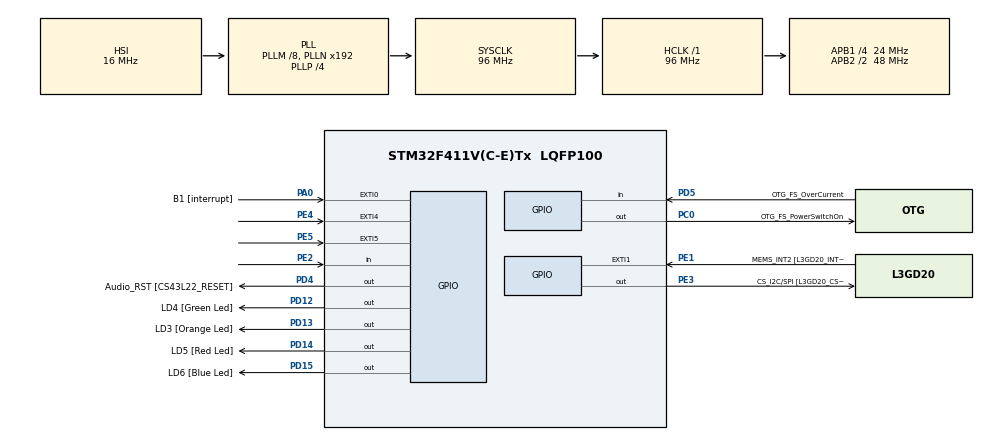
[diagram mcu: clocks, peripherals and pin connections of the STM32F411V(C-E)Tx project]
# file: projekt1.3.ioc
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Mcu.Family=STM32F4
Mcu.Name=STM32F411V(C-E)Tx
Mcu.Package=LQFP100
NVIC.EXTI0_IRQn=true\:0\:0\:false\:false\:true\:true\:true\:true
NVIC.PriorityGroup=NVIC_PRIORITYGROUP_0
PA0-WKUP.GPIO_Label=B1 [interrupt]
PA0-WKUP.GPIO_ModeDefaultEXTI=GPIO_MODE_IT_RISING
PA0-WKUP.Signal=GPXTI0
PA10.GPIO_Label=OTG_FS_ID
PA10.Signal=USB_OTG_FS_ID
PA11.GPIO_Label=OTG_FS_DM
PA11.Signal=USB_OTG_FS_DM
PA12.GPIO_Label=OTG_FS_DP
PA12.Signal=USB_OTG_FS_DP
PA13.GPIO_Label=SWDIO
PA13.Signal=SYS_JTMS-SWDIO
PA14.GPIO_Label=SWCLK
PA14.Signal=SYS_JTCK-SWCLK
PA4.GPIO_Label=I2S3_WS [CS43L22_LRCK]
PA4.GPIO_Mode=GPIO_MODE_AF_PP
PA4.GPIO_PuPd=GPIO_NOPULL
PA4.GPIO_Speed=GPIO_SPEED_FREQ_LOW
PA4.Signal=I2S3_WS
PA5.GPIO_Label=SPI1_SCK [L3GD20_SC/SPC]
PA5.Signal=SPI1_SCK
PA6.GPIO_Label=SPI1_MISO [L3GD20_AS0/SDO]
PA6.Signal=SPI1_MISO
PA7.GPIO_Label=SPI1_MOSI [L3GD20_SDA/SDI/SDO]
PA7.Signal=SPI1_MOSI
PA9.GPIO_Label=VBUS_FS
PA9.Signal=USB_OTG_FS_VBUS
PB10.GPIO_Label=CLK_IN [MP45DT02_CLK]
PB10.Signal=I2S2_CK
PB12.Signal=I2S2_WS
PB3.GPIO_Label=SWO
PB3.Signal=SYS_JTDO-SWO
PB6.GPIO_Label=Audio_SCL [CS43L22_SCL]
PB6.GPIO_Mode=GPIO_MODE_AF_OD
PB6.GPIO_PuPd=GPIO_NOPULL
PB6.GPIO_Speed=GPIO_SPEED_FREQ_LOW
PB6.Signal=I2C1_SCL
PB9.GPIO_Label=Audio_SDA [CS43L22_SDA]
PB9.GPIO_Mode=GPIO_MODE_AF_OD
PB9.GPIO_PuPd=GPIO_NOPULL
PB9.GPIO_Speed=GPIO_SPEED_FREQ_LOW
PB9.Signal=I2C1_SDA
PC0.GPIO_Label=OTG_FS_PowerSwitchOn
PC0.PinState=GPIO_PIN_SET
PC0.Signal=GPIO_Output
PC10.GPIO_Label=I2S3_SCK [CS43L22_SCLK]
PC10.GPIO_Mode=GPIO_MODE_AF_PP
PC10.GPIO_PuPd=GPIO_NOPULL
PC10.GPIO_Speed=GPIO_SPEED_FREQ_LOW
PC10.Signal=I2S3_CK
PC12.GPIO_Label=I2S3_SD [CS43L22_SDIN]
PC12.GPIO_Mode=GPIO_MODE_AF_PP
PC12.GPIO_PuPd=GPIO_NOPULL
PC12.GPIO_Speed=GPIO_SPEED_FREQ_LOW
PC12.Signal=I2S3_SD
PC14-OSC32_IN.GPIO_Label=PC14-OSC32_IN
PC14-OSC32_IN.Signal=RCC_OSC32_IN
PC15-OSC32_OUT.GPIO_Label=PC15-OSC32_OUT
PC15-OSC32_OUT.Signal=RCC_OSC32_OUT
PC3.GPIO_Label=PDM_OUT [MP45DT02_DOUT]
PC3.Signal=I2S2_SD
PC7.GPIO_Label=I2S3_MCK [CS43L22_MCLK]
PC7.GPIO_Mode=GPIO_MODE_AF_PP
PC7.GPIO_PuPd=GPIO_NOPULL
PC7.GPIO_Speed=GPIO_SPEED_FREQ_LOW
PC7.Signal=I2S3_MCK
PD12.GPIO_Label=LD4 [Green Led]
PD12.GPIO_PuPd=GPIO_NOPULL
PD12.GPIO_Speed=GPIO_SPEED_FREQ_LOW
PD12.Signal=GPIO_Output
PD13.GPIO_Label=LD3 [Orange Led]
PD13.GPIO_PuPd=GPIO_NOPULL
PD13.GPIO_Speed=GPIO_SPEED_FREQ_LOW
PD13.Signal=GPIO_Output
PD14.GPIO_Label=LD5 [Red Led]
PD14.GPIO_PuPd=GPIO_NOPULL
PD14.GPIO_Speed=GPIO_SPEED_FREQ_LOW
PD14.Signal=GPIO_Output
PD15.GPIO_Label=LD6 [Blue Led]
PD15.GPIO_PuPd=GPIO_NOPULL
PD15.GPIO_Speed=GPIO_SPEED_FREQ_LOW
PD15.Signal=GPIO_Output
PD4.GPIO_Label=Audio_RST [CS43L22_RESET]
PD4.Signal=GPIO_Output
PD5.GPIO_Label=OTG_FS_OverCurrent
PD5.Signal=GPIO_Input
PE1.GPIO_Label=MEMS_INT2 [L3GD20_INT2]
PE1.GPIO_ModeDefaultEXTI=GPIO_MODE_EVT_RISING
PE1.Signal=GPXTI1
PE2.Signal=GPIO_Input
PE3.GPIO_Label=CS_I2C/SPI [L3GD20_CS_I2C/SPI]
PE3.Signal=GPIO_Output
PE4.GPIO_ModeDefaultEXTI=GPIO_MODE_EVT_RISING
PE4.Signal=GPXTI4
PE5.GPIO_ModeDefaultEXTI=GPIO_MODE_EVT_RISING
PE5.Signal=GPXTI5
PH0\ -\ OSC_IN.GPIO_Label=PH0-OSC_IN
PH0\ -\ OSC_IN.Signal=RCC_OSC_IN
PH1\ -\ OSC_OUT.GPIO_Label=PH1-OSC_OUT
PH1\ -\ OSC_OUT.Signal=RCC_OSC_OUT
ProjectManager.HeapSize=0x200
ProjectManager.StackSize=0x400
ProjectManager.TargetToolchain=STM32CubeIDE
RCC.48MHZClocksFreq_Value=48000000
RCC.AHBFreq_Value=96000000
RCC.APB1CLKDivider=RCC_HCLK_DIV4
RCC.APB1Freq_Value=24000000
RCC.APB1TimFreq_Value=48000000
RCC.APB2CLKDivider=RCC_HCLK_DIV2
RCC.APB2Freq_Value=48000000
RCC.APB2TimFreq_Value=96000000
RCC.CortexFreq_Value=96000000
RCC.HCLKFreq_Value=96000000
RCC.HSE_VALUE=8000000
RCC.HSI_VALUE=16000000
RCC.LSE_VALUE=32768
RCC.PLLI2SM=5
RCC.PLLI2SN=200
RCC.PLLM=8
RCC.PLLP=RCC_PLLP_DIV4
RCC.PLLQ=8
RCC.SYSCLKFreq_VALUE=96000000
RCC.SYSCLKSource=RCC_SYSCLKSOURCE_PLLCLK
RCC.VCOOutputFreq_Value=384000000
board=STM32F411E-DISCO

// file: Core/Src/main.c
/* USER CODE BEGIN Header */
/**
  ******************************************************************************
  * @file           : main.c
  * @brief          : Main program body
  ******************************************************************************
  * @attention
  *
  * Copyright (c) 2024 STMicroelectronics.
  * All rights reserved.
  *
  * This software is licensed under terms that can be found in the LICENSE file
  * in the root directory of this software component.
  * If no LICENSE file comes with this software, it is provided AS-IS.
  *
  ******************************************************************************
  */
/* USER CODE END Header */
#include "main.h"
#include "gpio.h"

/* USER CODE BEGIN PV */
  volatile uint32_t n = 0; //licznik do poruszania sie po pinArray
  volatile uint32_t lastDebounceTime = 0;  // Czas ostatniego naciśnięcia przycisku
  volatile uint16_t pinArray[] = {
      LD4_Pin,
      LD3_Pin,
      LD5_Pin,
	  LD6_Pin
  };
/* USER CODE END PV */

void SystemClock_Config(void);

int main(void)
{

  /* MCU Configuration--------------------------------------------------------*/

  /* Reset of all peripherals, Initializes the Flash interface and the Systick. */
  HAL_Init();

  /* Configure the system clock */
  SystemClock_Config();

  /* Initialize all configured peripherals */
  MX_GPIO_Init();
  /* USER CODE BEGIN 2 */

  HAL_GPIO_WritePin(GPIOD, pinArray[n], GPIO_PIN_SET);
  /* USER CODE END 2 */

  /* Infinite loop */
  /* USER CODE BEGIN WHILE */
  while (1)
  {
	  HAL_GPIO_TogglePin(GPIOD, pinArray[n]);
	  HAL_Delay(1000);

    /* USER CODE END WHILE */

  }
}

void SystemClock_Config(void)
{
  RCC_OscInitTypeDef RCC_OscInitStruct = {0};
  RCC_ClkInitTypeDef RCC_ClkInitStruct = {0};

  /** Configure the main internal regulator output voltage
  */
  __HAL_RCC_PWR_CLK_ENABLE();
  __HAL_PWR_VOLTAGESCALING_CONFIG(PWR_REGULATOR_VOLTAGE_SCALE1);

  /** Initializes the RCC Oscillators according to the specified parameters
  * in the RCC_OscInitTypeDef structure.
  */
  RCC_OscInitStruct.OscillatorType = RCC_OSCILLATORTYPE_HSI;
  RCC_OscInitStruct.HSIState = RCC_HSI_ON;
  RCC_OscInitStruct.HSICalibrationValue = RCC_HSICALIBRATION_DEFAULT;
  RCC_OscInitStruct.PLL.PLLState = RCC_PLL_ON;
  RCC_OscInitStruct.PLL.PLLSource = RCC_PLLSOURCE_HSI;
  RCC_OscInitStruct.PLL.PLLM = 8;
  RCC_OscInitStruct.PLL.PLLN = 192;
  RCC_OscInitStruct.PLL.PLLP = RCC_PLLP_DIV4;
  RCC_OscInitStruct.PLL.PLLQ = 8;
  if (HAL_RCC_OscConfig(&RCC_OscInitStruct) != HAL_OK)
  {
    Error_Handler();
  }

  /** Initializes the CPU, AHB and APB buses clocks
  */
  RCC_ClkInitStruct.ClockType = RCC_CLOCKTYPE_HCLK|RCC_CLOCKTYPE_SYSCLK
                              |RCC_CLOCKTYPE_PCLK1|RCC_CLOCKTYPE_PCLK2;
  RCC_ClkInitStruct.SYSCLKSource = RCC_SYSCLKSOURCE_PLLCLK;
  RCC_ClkInitStruct.AHBCLKDivider = RCC_SYSCLK_DIV1;
  RCC_ClkInitStruct.APB1CLKDivider = RCC_HCLK_DIV4;
  RCC_ClkInitStruct.APB2CLKDivider = RCC_HCLK_DIV2;

  if (HAL_RCC_ClockConfig(&RCC_ClkInitStruct, FLASH_LATENCY_3) != HAL_OK)
  {
    Error_Handler();
  }
}

/* USER CODE BEGIN 4 */
void HAL_GPIO_EXTI_Callback(uint16_t GPIO_Pin) //przerwanie - obsługa i kod :3
{
	if(GPIO_Pin == B1_Pin)
	{
		uint32_t currentTime = HAL_GetTick(); //aktualny czas w ms

		if (currentTime - lastDebounceTime > 100)  // sprawdz czy minelo co najmniej 50ms
        {
            HAL_GPIO_WritePin(GPIOD, pinArray[n], GPIO_PIN_RESET);
            n++;
            if(n == 4) n = 0;
            HAL_GPIO_WritePin(GPIOD, pinArray[n], GPIO_PIN_SET);

            lastDebounceTime = currentTime;  // zaktualizuj czas ostatniego nacisniecia
        }
	}
}
/* USER CODE END 4 */

void Error_Handler(void)
{
  __disable_irq();
  while (1)
  {
  }
}
